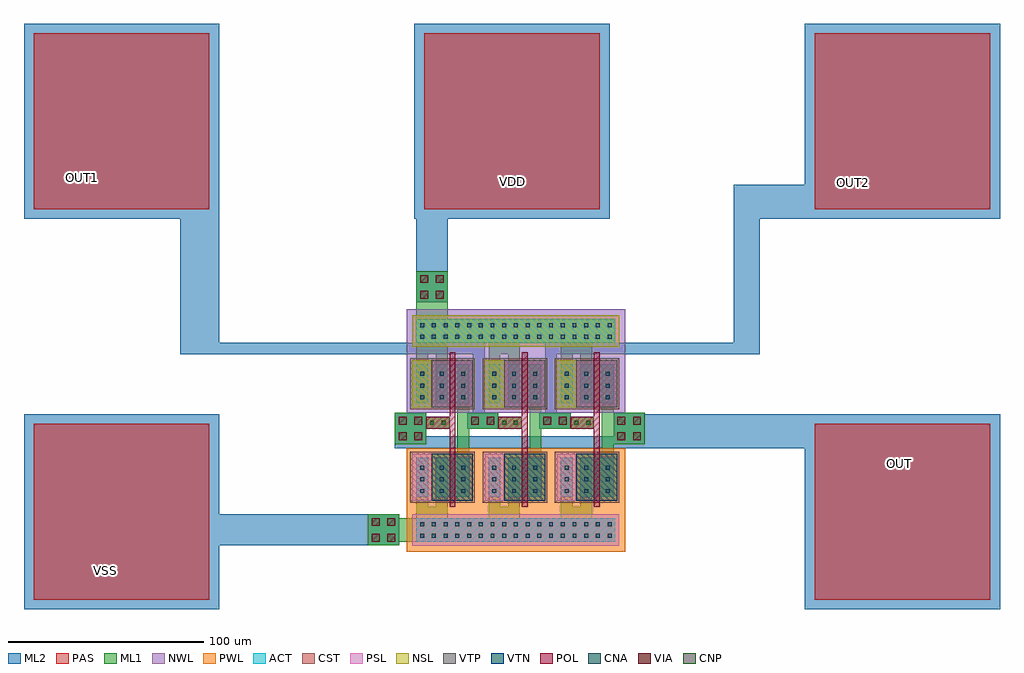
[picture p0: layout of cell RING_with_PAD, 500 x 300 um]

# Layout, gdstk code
import gdstk
lib = gdstk.Library(unit=1e-6, precision=1e-09)
def R(c, l, rs):  # rectangles x0, y0, x1, y1
    for r in rs: c.add(gdstk.rectangle(r[:2], r[2:], *l))
def A(c, l, x, y, w, h, nx, ny, dx, dy):  # array of equal rectangles
    R(c, l, [(x+i*dx, y+j*dy, x+i*dx+w, y+j*dy+h) for i in range(nx) for j in range(ny)])
NWL = (1, 0)
PWL = (2, 0)
CST = (3, 0)
ACT = (4, 0)
VTN = (5, 0)
VTP = (6, 0)
POL = (7, 0)
NSL = (8, 0)
PSL = (9, 0)
CNA = (10, 0)
CNP = (11, 0)
ML1 = (12, 0)
VIA = (13, 0)
ML2 = (14, 0)
PAS = (15, 0)

ring_with_pad = lib.new_cell('RING_with_PAD')
R(ring_with_pad, NWL, [(222.3,314.2,334.3,367.2), (259.3,314.2,296.3,344.2), (296.3,314.2,334.3,344.2)])
R(ring_with_pad, PWL, [(222.3,243.2,334.3,296.2), (259.3,266.2,296.3,296.2), (296.3,266.2,334.3,296.2)])
A(ring_with_pad, CST, 224.3, 268.2, 33, 26, 3, 2, 37, 48)
A(ring_with_pad, ACT, 227.3, 248.2, 6, 6, 17, 2, 6, 6)
A(ring_with_pad, ACT, 227.3, 271.2, 6, 20, 3, 2, 37, 48)
A(ring_with_pad, ACT, 237.3, 271.2, 17, 20, 3, 2, 37, 48)
A(ring_with_pad, ACT, 237.3, 319.2, 6, 6, 1, 3, 0, 6)
A(ring_with_pad, ACT, 248.3, 319.2, 6, 6, 1, 3, 0, 6)
A(ring_with_pad, ACT, 274.3, 319.2, 6, 6, 1, 3, 0, 6)
A(ring_with_pad, ACT, 285.3, 319.2, 6, 6, 1, 3, 0, 6)
A(ring_with_pad, ACT, 311.3, 319.2, 6, 6, 1, 3, 0, 6)
A(ring_with_pad, ACT, 322.3, 319.2, 6, 6, 1, 3, 0, 6)
A(ring_with_pad, ACT, 227.3, 350.2, 6, 6, 17, 2, 6, 6)
R(ring_with_pad, ACT, [(227.3,325.2,233.3,331.2), (264.3,325.2,270.3,331.2), (301.3,325.2,307.3,331.2)])
A(ring_with_pad, VTN, 235.3, 269.2, 21, 24, 3, 1, 37, 0)
A(ring_with_pad, VTP, 235.3, 317.2, 21, 24, 3, 1, 37, 0)
A(ring_with_pad, POL, 244.3, 266.2, 3, 42.4, 3, 1, 37, 0)
A(ring_with_pad, POL, 232.3, 306.2, 12, 6, 3, 1, 37, 0)
A(ring_with_pad, POL, 244.3, 307.6, 3, 37.6, 3, 1, 37, 0)
A(ring_with_pad, NSL, 235.3, 269.2, 21, 24, 3, 1, 37, 0)
A(ring_with_pad, NSL, 225.3, 317.2, 10, 24, 3, 1, 37, 0)
R(ring_with_pad, NSL, [(225.3,348.2,331.3,364.2)])
A(ring_with_pad, PSL, 225.3, 269.2, 10, 24, 3, 1, 37, 0)
A(ring_with_pad, PSL, 235.3, 317.2, 21, 24, 3, 1, 37, 0)
R(ring_with_pad, PSL, [(225.3,246.2,331.3,262.2)])
A(ring_with_pad, CNA, 229.3, 250.2, 2, 2, 17, 2, 6, 6)
A(ring_with_pad, CNA, 229.3, 273.2, 2, 2, 1, 3, 0, 6)
A(ring_with_pad, CNA, 239.3, 273.2, 2, 2, 1, 3, 0, 6)
A(ring_with_pad, CNA, 250.3, 273.2, 2, 2, 1, 3, 0, 6)
A(ring_with_pad, CNA, 266.3, 273.2, 2, 2, 1, 3, 0, 6)
A(ring_with_pad, CNA, 276.3, 273.2, 2, 2, 1, 3, 0, 6)
A(ring_with_pad, CNA, 287.3, 273.2, 2, 2, 1, 3, 0, 6)
A(ring_with_pad, CNA, 303.3, 273.2, 2, 2, 1, 3, 0, 6)
A(ring_with_pad, CNA, 313.3, 273.2, 2, 2, 1, 3, 0, 6)
A(ring_with_pad, CNA, 324.3, 273.2, 2, 2, 1, 3, 0, 6)
A(ring_with_pad, CNA, 229.3, 321.2, 2, 2, 1, 3, 0, 6)
A(ring_with_pad, CNA, 239.3, 321.2, 2, 2, 1, 3, 0, 6)
A(ring_with_pad, CNA, 250.3, 321.2, 2, 2, 1, 3, 0, 6)
A(ring_with_pad, CNA, 266.3, 321.2, 2, 2, 1, 3, 0, 6)
A(ring_with_pad, CNA, 276.3, 321.2, 2, 2, 1, 3, 0, 6)
A(ring_with_pad, CNA, 287.3, 321.2, 2, 2, 1, 3, 0, 6)
A(ring_with_pad, CNA, 303.3, 321.2, 2, 2, 1, 3, 0, 6)
A(ring_with_pad, CNA, 313.3, 321.2, 2, 2, 1, 3, 0, 6)
A(ring_with_pad, CNA, 324.3, 321.2, 2, 2, 1, 3, 0, 6)
A(ring_with_pad, CNA, 229.3, 352.2, 2, 2, 17, 2, 6, 6)
R(ring_with_pad, CNP, [(234.3,308.2,236.3,310.2), (240.3,308.2,242.3,310.2), (271.3,308.2,273.3,310.2), (277.3,308.2,279.3,310.2), (308.3,308.2,310.3,310.2), (314.3,308.2,316.3,310.2)])
A(ring_with_pad, ML1, 227.3, 248.2, 6, 6, 17, 2, 6, 6)
A(ring_with_pad, ML1, 231.3, 260.2, 8, 6, 3, 2, 37, 84)
A(ring_with_pad, ML1, 248.3, 283.2, 6, 9, 3, 1, 37, 0)
A(ring_with_pad, ML1, 227.3, 331.2, 6, 19, 3, 1, 37, 0)
A(ring_with_pad, ML1, 237.3, 331.2, 6, 9, 3, 1, 37, 0)
A(ring_with_pad, ML1, 248.3, 331.2, 6, 8, 3, 1, 37, 0)
A(ring_with_pad, ML1, 237.3, 338.5, 6, 11.7, 3, 1, 37, 0)
A(ring_with_pad, ML1, 227.3, 350.2, 6, 6, 17, 2, 6, 6)
R(ring_with_pad, ML1, [(202.5,246.3,210.5,254.3), (210.5,246.3,218.5,254.3), (216,248.2,230.3,260.2), (202.5,254.3,210.5,262.3), (210.5,254.3,218.5,262.3), (227.3,260.2,233.3,272.2), (237.3,260.2,243.3,272.2), (264.3,260.2,270.3,272.2), (274.3,260.2,280.3,272.2), (301.3,260.2,307.3,272.2), (311.3,260.2,317.3,272.2), (227.3,271.2,233.3,277.2), (237.3,271.2,243.3,277.2), (248.3,271.2,254.3,277.2), (264.3,271.2,270.3,277.2), (274.3,271.2,280.3,277.2), (285.3,271.2,291.3,277.2), (301.3,271.2,307.3,277.2), (311.3,271.2,317.3,277.2), (322.3,271.2,328.3,277.2), (227.3,277.2,233.3,283.2), (237.3,277.2,243.3,283.2), (248.3,277.2,254.3,283.2), (264.3,277.2,270.3,283.2), (274.3,277.2,280.3,283.2), (285.3,277.2,291.3,283.2), (301.3,277.2,307.3,283.2), (311.3,277.2,317.3,283.2), (322.3,277.2,328.3,283.2), (227.3,283.2,233.3,291.2), (237.3,283.2,243.3,291.2), (264.3,283.2,270.3,291.2), (274.3,283.2,280.3,291.2), (301.3,283.2,307.3,291.2), (311.3,283.2,317.3,291.2), (322.3,287.7,328.3,326.6), (285.3,288.9,291.3,326.6), (248.3,290.8,254.3,326.6), (216.3,298.2,224.3,306.2), (224.3,298.2,232.3,306.2), (328.3,298.2,336.3,306.2), (336.3,298.2,344.3,306.2), (216.3,306.2,224.3,314.2), (224.3,306.2,232.3,314.2), (232.3,306.2,238.3,312.2), (238.3,306.2,244.3,312.2), (250.3,306.2,269.3,312.2), (253.3,306.2,261.3,314.2), (261.3,306.2,269.3,314.2), (269.3,306.2,275.3,312.2), (275.3,306.2,281.3,312.2), (287.3,306.2,306.3,312.2), (290.3,306.2,298.3,314.2), (298.3,306.2,306.3,314.2), (306.3,306.2,312.3,312.2), (312.3,306.2,318.3,312.2), (328.3,306.2,336.3,314.2), (336.3,306.2,344.3,314.2), (227.3,319.2,233.3,325.2), (237.3,319.2,243.3,325.2), (248.3,319.2,254.3,325.2), (264.3,319.2,270.3,325.2), (274.3,319.2,280.3,325.2), (285.3,319.2,291.3,325.2), (301.3,319.2,307.3,325.2), (311.3,319.2,317.3,325.2), (322.3,319.2,328.3,325.2), (227.3,325.2,233.3,331.2), (237.3,325.2,243.3,331.2), (248.3,325.2,254.3,331.2), (264.3,325.2,270.3,331.2), (274.3,325.2,280.3,331.2), (285.3,325.2,291.3,331.2), (301.3,325.2,307.3,331.2), (311.3,325.2,317.3,331.2), (322.3,325.2,328.3,331.2), (227.3,357.4,243.3,372.4), (227.3,370.8,235.3,378.8), (235.3,370.8,243.3,378.8), (227.3,378.8,235.3,386.8), (235.3,378.8,243.3,386.8)])
R(ring_with_pad, VIA, [(204.5,248.3,208.5,252.3), (212.5,248.3,216.5,252.3), (204.5,256.3,208.5,260.3), (212.5,256.3,216.5,260.3), (218.3,300.2,222.3,304.2), (226.3,300.2,230.3,304.2), (330.3,300.2,334.3,304.2), (338.3,300.2,342.3,304.2), (218.3,308.2,222.3,312.2), (226.3,308.2,230.3,312.2), (255.3,308.2,259.3,312.2), (263.3,308.2,267.3,312.2), (292.3,308.2,296.3,312.2), (300.3,308.2,304.3,312.2), (330.3,308.2,334.3,312.2), (338.3,308.2,342.3,312.2), (229.3,372.8,233.3,376.8), (237.3,372.8,241.3,376.8), (229.3,380.8,233.3,384.8), (237.3,380.8,241.3,384.8)])
A(ring_with_pad, ML2, 26.3, 413.6, 100, 100, 3, 1, 200, 0)
R(ring_with_pad, ML2, [(26.3,213.6,126.3,313.6), (426.3,213.6,526.3,313.6), (76.8,246.3,215.8,262.3), (202.5,246.3,210.5,254.3), (210.5,246.3,218.5,254.3), (202.5,254.3,210.5,262.3), (210.5,254.3,218.5,262.3), (216.3,296.2,344.3,302.2), (344.3,296.2,426.3,313.6), (216.3,298.3,224.3,306.2), (224.3,298.3,232.3,306.2), (328.3,298.3,336.3,306.2), (336.3,298.3,344.3,306.2), (216.3,301.7,232.3,306.7), (328.3,301.7,344.3,307.7), (253.3,306.2,261.3,314.2), (261.3,306.2,269.3,314.2), (290.3,306.2,306.3,314.2), (216.3,306.3,224.3,314.2), (224.3,306.3,232.3,314.2), (328.3,306.3,336.3,314.2), (336.3,306.3,344.3,314.2), (293.3,306.6,299.3,344.2), (256.3,312.6,262.3,350.2), (106.3,344.2,126.3,431), (114.5,344.2,256.3,350.2), (293.3,344.2,396,350.2), (389.8,344.2,403.1,431), (227.3,370.8,235.3,378.8), (235.3,370.8,243.3,378.8), (227.3,378.8,235.3,386.8), (235.3,378.8,243.3,386.8), (227.3,384.4,243.3,422.7), (389.8,413.6,426.3,431)])
A(ring_with_pad, PAS, 31.3, 418.6, 90, 90, 3, 1, 200, 0)
R(ring_with_pad, PAS, [(31.3,218.6,121.3,308.6), (431.3,218.6,521.3,308.6)])
ring_with_pad.add(gdstk.Label('VSS', (67.9,233.7), layer=31, texttype=0))
ring_with_pad.add(gdstk.Label('VDD', (276.7,432.8), layer=31, texttype=0))
ring_with_pad.add(gdstk.Label('OUT', (474.6,288.5), layer=31, texttype=0))
ring_with_pad.add(gdstk.Label('OUT1', (56.4,435), layer=31, texttype=0))
ring_with_pad.add(gdstk.Label('OUT2', (451.1,432.3), layer=31, texttype=0))

lib.write_gds('RING_with_PAD.gds')
